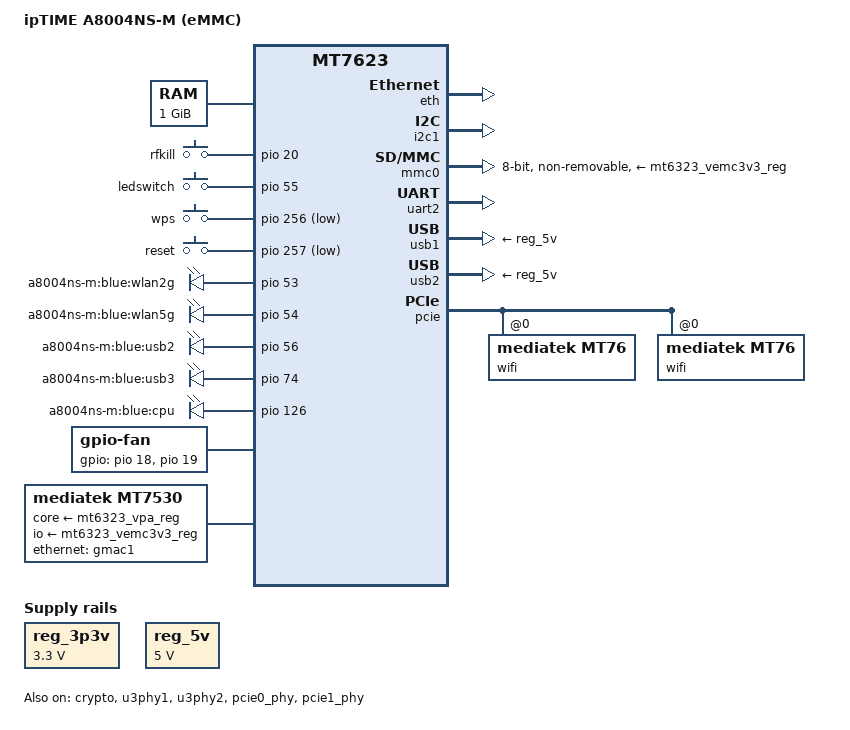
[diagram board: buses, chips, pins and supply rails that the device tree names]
/*
 * Copyright 2019 Sungbo Eo <mans0n@gorani.run>
 *
 * Based on Unielec U7623-02 dts
 * Copyright 2018 Kristian Evensen <kristian.evensen@gmail.com>
 *
 * SPDX-License-Identifier: (GPL-2.0+ OR MIT)
 */

/dts-v1/;
#include <dt-bindings/input/input.h>
#include "mt7623.dtsi"
#include "mt6323.dtsi"

/ {
	model = "ipTIME A8004NS-M (eMMC)";
	compatible = "iptime,a8004ns-m-emmc", "iptime,a8004ns-m", "mediatek,mt7623";

	aliases {
		serial2 = &uart2;
		led-boot = &led_cpu;
		led-failsafe = &led_cpu;
		led-running = &led_cpu;
		led-upgrade = &led_cpu;
	};

	chosen {
		// bootargs = "root=/dev/mmcblk0p2 rootfstype=squashfs,f2fs";
		stdout-path = "serial2:115200n8";
	};

	memory {
		device_type = "memory";
		reg = <0 0x80000000 0 0x40000000>;
	};

	cpus {
		cpu@0 {
			proc-supply = <&mt6323_vproc_reg>;
		};

		cpu@1 {
			proc-supply = <&mt6323_vproc_reg>;
		};

		cpu@2 {
			proc-supply = <&mt6323_vproc_reg>;
		};

		cpu@3 {
			proc-supply = <&mt6323_vproc_reg>;
		};
	};

	reg_3p3v: regulator-3p3v {
		compatible = "regulator-fixed";
		regulator-name = "fixed-3.3V";
		regulator-min-microvolt = <3300000>;
		regulator-max-microvolt = <3300000>;
		regulator-boot-on;
		regulator-always-on;
	};

	reg_5v: regulator-5v {
		compatible = "regulator-fixed";
		regulator-name = "fixed-5V";
		regulator-min-microvolt = <5000000>;
		regulator-max-microvolt = <5000000>;
		regulator-boot-on;
		regulator-always-on;
	};

	keys {
		compatible = "gpio-keys";
		pinctrl-names = "default";
		pinctrl-0 = <&key_pins_a>;

		rfkill {
			label = "rfkill";
			linux,input-type = <EV_SW>;
			linux,code = <KEY_RFKILL>;
			gpios = <&pio 20 GPIO_ACTIVE_HIGH>;
		};

		ledswitch {
			label = "ledswitch";
			linux,input-type = <EV_SW>;
			linux,code = <KEY_LIGHTS_TOGGLE>;
			gpios = <&pio 55 GPIO_ACTIVE_HIGH>;
		};

		wps {
			label = "wps";
			linux,code = <KEY_WPS_BUTTON>;
			gpios = <&pio 256 GPIO_ACTIVE_LOW>;
		};

		reset {
			label = "reset";
			linux,code = <KEY_RESTART>;
			gpios = <&pio 257 GPIO_ACTIVE_LOW>;
		};
	};

	leds {
		compatible = "gpio-leds";
		pinctrl-names = "default";
		pinctrl-0 = <&led_pins_a>;

		wlan2g {
			label = "a8004ns-m:blue:wlan2g";
			// linux,default-trigger = "phy0tpt";
			gpios = <&pio 53 GPIO_ACTIVE_HIGH>;
		};

		wlan5g {
			label = "a8004ns-m:blue:wlan5g";
			// linux,default-trigger = "phy1tpt";
			gpios = <&pio 54 GPIO_ACTIVE_HIGH>;
		};

		usb2 {
			label = "a8004ns-m:blue:usb2";
			trigger-sources = <&u3phy2_port1>;
			linux,default-trigger = "usbport";
			gpios = <&pio 56 GPIO_ACTIVE_HIGH>;
		};

		usb3 {
			label = "a8004ns-m:blue:usb3";
			trigger-sources = <&u3phy1_port1>;
			linux,default-trigger = "usbport";
			gpios = <&pio 74 GPIO_ACTIVE_HIGH>;
		};

		led_cpu: cpu {
			label = "a8004ns-m:blue:cpu";
			gpios = <&pio 126 GPIO_ACTIVE_HIGH>;
		};
	};

	gpio-fan {
		compatible = "gpio-fan";
		pinctrl-names = "default";
		pinctrl-0 = <&fan_pins_a>;
		gpios = <&pio 18 GPIO_ACTIVE_HIGH
			 &pio 19 GPIO_ACTIVE_HIGH>;
		gpio-fan,speed-map = <0    0
				      3800 1
				      5000 2>;
		#cooling-cells = <2>;
	};

	mt7530: switch@0 {
		compatible = "mediatek,mt7530";
	};
};

&crypto {
	status = "okay";
};

&eth {
	status = "okay";

	gmac1: mac@1 {
		compatible = "mediatek,eth-mac";
		reg = <1>;
		phy-mode = "rgmii";

		fixed-link {
			speed = <1000>;
			full-duplex;
			pause;
		};
	};

	mdio: mdio-bus {
		#address-cells = <1>;
		#size-cells = <0>;
	};
};

&mt7530 {
	compatible = "mediatek,mt7530";
	#address-cells = <1>;
	#size-cells = <0>;
	reg = <0>;
	pinctrl-names = "default";
	mediatek,mcm;
	resets = <&ethsys 2>;
	reset-names = "mcm";
	core-supply = <&mt6323_vpa_reg>;
	io-supply = <&mt6323_vemc3v3_reg>;

	dsa,mii-bus = <&mdio>;

	ports {
		#address-cells = <1>;
		#size-cells = <0>;
		reg = <0>;

		port@0 {
			reg = <0>;
			label = "lan0";
			cpu = <&cpu_port1>;
		};

		port@1 {
			reg = <1>;
			label = "lan1";
			cpu = <&cpu_port1>;
		};

		port@2 {
			reg = <2>;
			label = "lan2";
			cpu = <&cpu_port1>;
		};

		port@3 {
			reg = <3>;
			label = "lan3";
			cpu = <&cpu_port1>;
		};

		port@4 {
			reg = <4>;
			label = "wan";
			cpu = <&cpu_port1>;
		};

		cpu_port1: port@5 {
			reg = <5>;
			label = "cpu";
			ethernet = <&gmac1>;
			phy-mode = "rgmii";

			fixed-link {
				speed = <1000>;
				full-duplex;
			};
		};
	};
};

&i2c1 {
	pinctrl-names = "default";
	pinctrl-0 = <&i2c1_pins_b>;
	status = "okay";
};

&mmc0 {
	pinctrl-names = "default", "state_uhs";
	pinctrl-0 = <&mmc0_pins_default>;
	pinctrl-1 = <&mmc0_pins_uhs>;
	status = "okay";
	bus-width = <8>;
	max-frequency = <50000000>;
	cap-mmc-highspeed;
	vmmc-supply = <&mt6323_vemc3v3_reg>;
	vqmmc-supply = <&mt6323_vio18_reg>;
	non-removable;
};

&pio {
	i2c1_pins_b: i2c1-alt {
		pin-i2c1 {
			pinmux = <MT7623_PIN_242_URTS2_FUNC_SCL1>,
				 <MT7623_PIN_243_UCTS2_FUNC_SDA1>;
			bias-disable;
		};
	};

	key_pins_a: keys-alt {
		pins-keys {
			pinmux = <MT7623_PIN_20_PCM_RX_FUNC_GPIO20>,
				 <MT7623_PIN_55_SPI0_MI_FUNC_GPIO55>,
				 <MT7623_PIN_256_GPIO256_FUNC_GPIO256>,
				 <MT7623_PIN_257_GPIO257_FUNC_GPIO257>;
			input-enable;
		};
	};

	led_pins_a: leds-alt {
		pins-leds {
			pinmux = <MT7623_PIN_53_SPI0_CSN_FUNC_GPIO53>,
				 <MT7623_PIN_54_SPI0_CK_FUNC_GPIO54>,
				 <MT7623_PIN_56_SPI0_MO_FUNC_GPIO56>,
				 <MT7623_PIN_74_I2S0_BCK_FUNC_GPIO74>,
				 <MT7623_PIN_126_I2S0_MCLK_FUNC_GPIO126>;
		};
	};

	fan_pins_a: fan-alt {
		pins-fan {
			pinmux = <MT7623_PIN_18_PCM_CLK_FUNC_GPIO18>,
				 <MT7623_PIN_19_PCM_SYNC_FUNC_GPIO19>;
		};
	};

	mmc0_pins_default: mmc0default {
		pins-cmd-dat {
			pinmux = <MT7623_PIN_111_MSDC0_DAT7_FUNC_MSDC0_DAT7>,
				 <MT7623_PIN_112_MSDC0_DAT6_FUNC_MSDC0_DAT6>,
				 <MT7623_PIN_113_MSDC0_DAT5_FUNC_MSDC0_DAT5>,
				 <MT7623_PIN_114_MSDC0_DAT4_FUNC_MSDC0_DAT4>,
				 <MT7623_PIN_118_MSDC0_DAT3_FUNC_MSDC0_DAT3>,
				 <MT7623_PIN_119_MSDC0_DAT2_FUNC_MSDC0_DAT2>,
				 <MT7623_PIN_120_MSDC0_DAT1_FUNC_MSDC0_DAT1>,
				 <MT7623_PIN_121_MSDC0_DAT0_FUNC_MSDC0_DAT0>,
				 <MT7623_PIN_116_MSDC0_CMD_FUNC_MSDC0_CMD>;
			input-enable;
			bias-pull-up;
		};

		pins-clk {
			pinmux = <MT7623_PIN_117_MSDC0_CLK_FUNC_MSDC0_CLK>;
			bias-pull-down;
		};

		pins-rst {
			pinmux = <MT7623_PIN_115_MSDC0_RSTB_FUNC_MSDC0_RSTB>;
			bias-pull-up;
		};
	};

	mmc0_pins_uhs: mmc0 {
		pins-cmd-dat {
			pinmux = <MT7623_PIN_111_MSDC0_DAT7_FUNC_MSDC0_DAT7>,
				 <MT7623_PIN_112_MSDC0_DAT6_FUNC_MSDC0_DAT6>,
				 <MT7623_PIN_113_MSDC0_DAT5_FUNC_MSDC0_DAT5>,
				 <MT7623_PIN_114_MSDC0_DAT4_FUNC_MSDC0_DAT4>,
				 <MT7623_PIN_118_MSDC0_DAT3_FUNC_MSDC0_DAT3>,
				 <MT7623_PIN_119_MSDC0_DAT2_FUNC_MSDC0_DAT2>,
				 <MT7623_PIN_120_MSDC0_DAT1_FUNC_MSDC0_DAT1>,
				 <MT7623_PIN_121_MSDC0_DAT0_FUNC_MSDC0_DAT0>,
				 <MT7623_PIN_116_MSDC0_CMD_FUNC_MSDC0_CMD>;
			input-enable;
			drive-strength = <MTK_DRIVE_2mA>;
			bias-pull-up = <MTK_PUPD_SET_R1R0_01>;
		};

		pins-clk {
			pinmux = <MT7623_PIN_117_MSDC0_CLK_FUNC_MSDC0_CLK>;
			drive-strength = <MTK_DRIVE_2mA>;
			bias-pull-down = <MTK_PUPD_SET_R1R0_01>;
		};

		pins-rst {
			pinmux = <MT7623_PIN_115_MSDC0_RSTB_FUNC_MSDC0_RSTB>;
			bias-pull-up;
		};
	};

	uart2_pins_b: uart2-alt {
		pins-dat {
			pinmux = <MT7623_PIN_200_URXD2_FUNC_URXD2>,
				 <MT7623_PIN_201_UTXD2_FUNC_UTXD2>;
		};
	};

	pcie_default: pcie_pin_default {
		pins_cmd_dat {
			pinmux = <MT7623_PIN_208_AUD_EXT_CK1_FUNC_PCIE0_PERST_N>,
				 <MT7623_PIN_209_AUD_EXT_CK2_FUNC_PCIE1_PERST_N>;
			bias-disable;
		};
	};
};

&uart2 {
	pinctrl-names = "default";
	pinctrl-0 = <&uart2_pins_b>;
	status = "okay";
};

&usb1 {
	vusb33-supply = <&reg_3p3v>;
	vbus-supply = <&reg_5v>;
	status = "okay";

	u3phy1_port1: port@1 {
		reg = <1>;
		#trigger-source-cells = <0>;
	};
};

&usb2 {
	vusb33-supply = <&reg_3p3v>;
	vbus-supply = <&reg_5v>;
	status = "okay";

	u3phy2_port1: port@1 {
		reg = <1>;
		#trigger-source-cells = <0>;
	};
};

&u3phy1 {
	status = "okay";
};

&u3phy2 {
	status = "okay";
};

&pcie {
	pinctrl-names = "default";
	pinctrl-0 = <&pcie_default>;
	status = "okay";

	pcie@0,0 {
		status = "okay";

		wifi@0,0 {
			compatible = "mediatek,mt76";
			reg = <0x0000 0 0 0 0>;
			// mediatek,mtd-eeprom = <&factory 0x0>;
			// ieee80211-freq-limit = <2400000 2500000>;
		};
	};

	pcie@1,0 {
		status = "okay";

		wifi@0,0 {
			compatible = "mediatek,mt76";
			reg = <0x0000 0 0 0 0>;
			// mediatek,mtd-eeprom = <&factory 0x8000>;
			// ieee80211-freq-limit = <5000000 6000000>;
		};
	};
};

&pcie0_phy {
	status = "okay";
};

&pcie1_phy {
	status = "okay";
};
